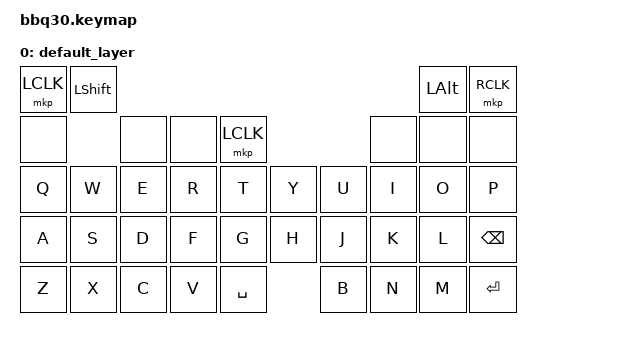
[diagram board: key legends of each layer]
/*
 * Copyright (c) 2023 ZitaoTech
 *
 * SPDX-License-Identifier: MIT
 */

#include <behaviors.dtsi>
#include <dt-bindings/zmk/keys.h>
#include <dt-bindings/zmk/bt.h>
#include <dt-bindings/zmk/outputs.h>
#include <dt-bindings/zmk/mouse.h>
#include <dt-bindings/zmk/backlight.h>
#include <dt-bindings/zmk/ext_power.h>


#define SYM 1
#define UPPER 2


/ {
    behaviors {
        td0: tap_dance_0 {
            compatible = "zmk,behavior-tap-dance";
            #binding-cells = <0>;
            tapping-term-ms = <400>;
            bindings = <&mkp LCLK>, <&bt BT_CLR>;
        };
    };
    behaviors {
        hm: homerow_mods {
            compatible = "zmk,behavior-hold-tap";
            #binding-cells = <2>;
            tapping-term-ms = <500>;
            bindings = <&out &kp>;
        };
    };

    behaviors {
        bhm: balanced_homerow_mods {
            compatible = "zmk,behavior-hold-tap";
            #binding-cells = <2>;
            flavor = "balanced";
            tapping-term-ms = <400>;
            bindings = <&kp>, <&kp>;
        };
    };

    keymap {
        compatible = "zmk,keymap";

        default_layer {

            bindings = <
//         --------------------------------------------------------------------------------------------------------------------------         
// |    Shoulder Key1    |                 |    Shoulder Key2    |                 |    Shoulder Key3    |                 |    Shoulder Key4    |        
// |      SYM       |    ENDCALL   |  Blackberry Key  |    Trackpad    |      Back Key      |        Endcall Key   |          UPPER              |
// |     Q      |     W    |     E    |     R    |      T      |       Y        |       U        |        I        |       O      |      P       |     
// |     A      |     S    |     D    |     F    |      G      |       H        |       J        |        K        |       L      |      ←       |  
// |     Z      |     X    |     C    |     V    |            SPACE             |       B        |        N        |        M     |    Enter     |   
//        -----------------------------------------------------------------------------------------------------------------

    &mkp LCLK                     &kp LSHFT                                                &kp LALT                                  &mkp RCLK
    &none                &none        &none             &mkp LCLK                          &none                    &none            &none
    &kp Q        &kp W      &kp E       &kp R     &kp T         &kp Y             &kp U            &kp I            &kp O            &kp P
    &kp A        &kp S      &kp D       &kp F     &kp G         &kp H             &kp J            &kp K            &kp L            &kp BSPC
    &kp Z        &kp X      &kp C       &kp V           &kp SPACE                 &kp B            &kp N            &kp M            &kp ENTER
            >;
        };

    };
};

